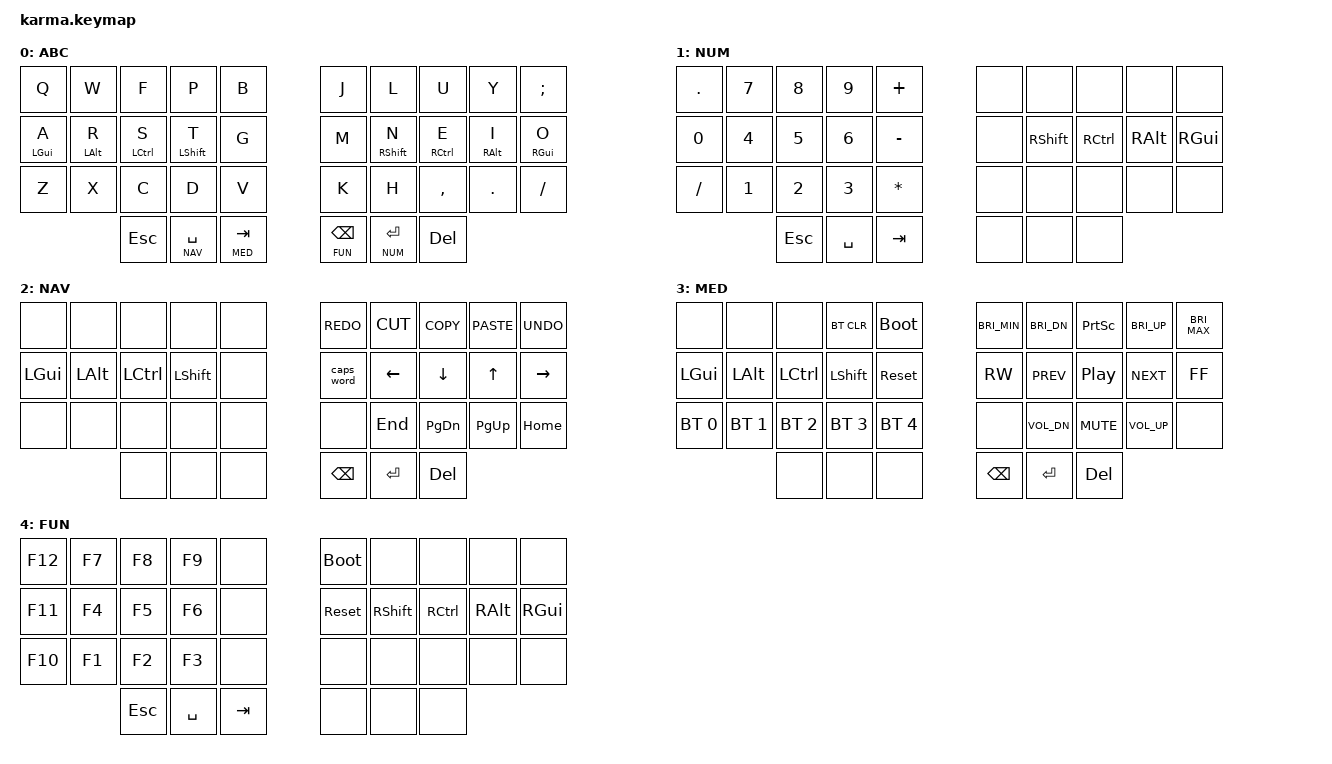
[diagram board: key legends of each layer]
#include <behaviors.dtsi>
#include <dt-bindings/zmk/keys.h>
#include <dt-bindings/zmk/bt.h>
#include <dt-bindings/zmk/ext_power.h>
#include <dt-bindings/zmk/outputs.h>

#define ABC 0
#define NUM 1
#define NAV 2
#define MED 3
#define FUN 4

#define COMBO_TIMEOUT_FAST 25
#define COMBO_TIMEOUT_SLOW 50

&mt {
  flavor = "tap-preferred";
  quick-tap-ms = <150>;
  tapping-term-ms = <150>;
};

&caps_word {
  continue-list = <UNDERSCORE MINUS BACKSPACE>;
};

/ {
    behaviors {
        ht_combo: ht_combo {
            compatible = "zmk,behavior-hold-tap";
            #binding-cells = <2>;
            flavor = "tap-preferred";
            tapping-term-ms = <150>;
            quick-tap-ms = <150>;
            bindings = <&kp>, <&kp>;
        };
        sym_brc: sym_brc_morph {
            compatible = "zmk,behavior-mod-morph";
            #binding-cells = <0>;
            bindings = <&kp LBRC>, <&kp RBRC>;
            mods = <(MOD_LSFT|MOD_RSFT)>;
        };
        sym_par: sym_par_morph {
            compatible = "zmk,behavior-mod-morph";
            #binding-cells = <0>;
            bindings = <&kp LPAR>, <&kp RPAR>;
            mods = <(MOD_LSFT|MOD_RSFT)>;
        };
        sym_bkt: sym_bkt_morph {
            compatible = "zmk,behavior-mod-morph";
            #binding-cells = <0>;
            bindings = <&kp LBKT>, <&kp RBKT>;
            mods = <(MOD_LSFT|MOD_RSFT)>;
        };
    };

    combos {
            compatible = "zmk,combos";
            // ┏━━━━━━━━━━━┳━━━━━━━━━━━┳━━━━━━━━━━━┳━━━━━━━━━━━┳━━━━━━━━━━━┓     ┏━━━━━━━━━━━┳━━━━━━━━━━━┳━━━━━━━━━━━┳━━━━━━━━━━━┳━━━━━━━━━━━┓
            // ┃           !           @           #           $           ┃     ┃           %           ^           &           *           ┃
            // ┣━━━━━━━━━━━╋━━━━━━━━━━━╋━━━━━━━━━━━╋━━━━━━━━━━━╋━━━━━━━━━━━┫     ┣━━━━━━━━━━━╋━━━━━━━━━━━╋━━━━━━━━━━━╋━━━━━━━━━━━╋━━━━━━━━━━━┫
            // ┃           `           -           '           =           ┃     ┃           +           "           _           ~           ┃
            // ┣━━━━━━━━━━━╋━━━━━━━━━━━╋━━━━━━━━━━━╋━━━━━━━━━━━╋━━━━━━━━━━━┫     ┣━━━━━━━━━━━╋━━━━━━━━━━━╋━━━━━━━━━━━╋━━━━━━━━━━━╋━━━━━━━━━━━┫
            // ┃           [           {           (           \           ┃     ┃           |           )           }           ]           ┃
            // ┗━━━━━━━━━━━┻━━━━━━━━━━━╋━━━━━━━━━━━╋━━━━━━━━━━━╋━━━━━━━━━━━┫     ┣━━━━━━━━━━━╋━━━━━━━━━━━╋━━━━━━━━━━━╋━━━━━━━━━━━┻━━━━━━━━━━━┛
            //                         ┃           ┃           ┃           ┃     ┃           ┃           ┃           ┃
            //                         ┗━━━━━━━━━━━┻━━━━━━━━━━━┻━━━━━━━━━━━┛     ┗━━━━━━━━━━━┻━━━━━━━━━━━┻━━━━━━━━━━━┛

            // --- Top Row ---
            combo_excl {
                timeout-ms = <COMBO_TIMEOUT_SLOW>;
                key-positions = <0 1>; // Q + W
                bindings = <&kp EXCL>;
                layers = <ABC>;
            };
            combo_at {
                timeout-ms = <COMBO_TIMEOUT_SLOW>;
                key-positions = <1 2>; // W + F
                bindings = <&kp AT>;
                layers = <ABC>;
            };
            combo_hash {
                timeout-ms = <COMBO_TIMEOUT_SLOW>;
                key-positions = <2 3>; // F + P
                bindings = <&kp HASH>;
                layers = <ABC>;
            };
            combo_dllr {
                timeout-ms = <COMBO_TIMEOUT_SLOW>;
                key-positions = <3 4>; // P + B
                bindings = <&kp DLLR>;
                layers = <ABC>;
            };
            combo_prcnt {
                timeout-ms = <COMBO_TIMEOUT_SLOW>;
                key-positions = <5 6>; // J + L
                bindings = <&kp PRCNT>;
                layers = <ABC>;
            };
            combo_caret {
                timeout-ms = <COMBO_TIMEOUT_SLOW>;
                key-positions = <6 7>; // L + U
                bindings = <&kp CARET>;
                layers = <ABC>;
            };
            combo_amps {
                timeout-ms = <COMBO_TIMEOUT_SLOW>;
                key-positions = <7 8>; // U + Y
                bindings = <&kp AMPS>;
                layers = <ABC>;
            };
            combo_star {
                timeout-ms = <COMBO_TIMEOUT_SLOW>;
                key-positions = <8 9>; // Y + ;
                bindings = <&kp STAR>;
                layers = <ABC>;
            };

            // --- Home Row ---
            combo_grave {
                timeout-ms = <COMBO_TIMEOUT_SLOW>;
                key-positions = <10 11>; // A + R
                bindings = <&ht_combo LG(LALT) GRAVE>;
                layers = <ABC>;
            };
            combo_minus {
                timeout-ms = <COMBO_TIMEOUT_FAST>;
                key-positions = <11 12>; // R + S
                bindings = <&ht_combo LA(LCTRL) MINUS>;
                layers = <ABC>;
            };
            combo_sqt {
                timeout-ms = <COMBO_TIMEOUT_FAST>;
                key-positions = <12 13>; // S + T
                bindings = <&ht_combo LC(LSHFT) SQT>;
                layers = <ABC>;
            };
            combo_equal {
                timeout-ms = <COMBO_TIMEOUT_SLOW>;
                key-positions = <13 14>; // T + G
                bindings = <&kp EQUAL>;
                layers = <ABC>;
            };
            combo_plus {
                timeout-ms = <COMBO_TIMEOUT_SLOW>;
                key-positions = <15 16>; // M + N
                bindings = <&kp PLUS>;
                layers = <ABC>;
            };
            combo_dqt {
                timeout-ms = <COMBO_TIMEOUT_FAST>;
                key-positions = <16 17>; // N + E
                bindings = <&ht_combo RC(RSHFT) DQT>;
                layers = <ABC>;
            };
            combo_under {
                timeout-ms = <COMBO_TIMEOUT_FAST>;
                key-positions = <17 18>; // E + I
                bindings = <&ht_combo RC(RALT) UNDER>;
                layers = <ABC>;
            };
            combo_tilde {
                timeout-ms = <COMBO_TIMEOUT_SLOW>;
                key-positions = <18 19>; // I + O
                bindings = <&ht_combo RG(RALT) TILDE>;
                layers = <ABC>;
            };

            // --- Bottom Row ---
            combo_lbracket {
                timeout-ms = <COMBO_TIMEOUT_SLOW>;
                key-positions = <20 21>; // Z + X
                bindings = <&kp LBKT>;
                layers = <ABC>;
            };
            combo_lbrace {
                timeout-ms = <COMBO_TIMEOUT_SLOW>;
                key-positions = <21 22>; // X + C
                bindings = <&kp LBRC>;
                layers = <ABC>;
            };
            combo_lparen {
                timeout-ms = <COMBO_TIMEOUT_FAST>;
                key-positions = <22 23>; // C + D
                bindings = <&kp LPAR>;
                layers = <ABC>;
            };
            combo_bslh {
                timeout-ms = <COMBO_TIMEOUT_SLOW>;
                key-positions = <23 24>; // D + V
                bindings = <&kp BSLH>;
                layers = <ABC>;
            };
            combo_pipe {
                timeout-ms = <COMBO_TIMEOUT_SLOW>;
                key-positions = <25 26>; // K + H
                bindings = <&kp PIPE>;
                layers = <ABC>;
            };
            combo_rparen {
                timeout-ms = <COMBO_TIMEOUT_SLOW>;
                key-positions = <26 27>; // H + ,
                bindings = <&kp RPAR>;
                layers = <ABC>;
            };
            combo_rbrace {
                timeout-ms = <COMBO_TIMEOUT_SLOW>;
                key-positions = <27 28>; // , + .
                bindings = <&kp RBRC>;
                layers = <ABC>;
            };
            combo_rbracket {
                timeout-ms = <COMBO_TIMEOUT_SLOW>;
                key-positions = <28 29>; // . + /
                bindings = <&kp RBKT>;
                layers = <ABC>;
            };
     };

        keymap {
                compatible = "zmk,keymap";
                abc_layer {
                    label= "ABC";
                    // ┏━━━━━━━━━━━┳━━━━━━━━━━━┳━━━━━━━━━━━┳━━━━━━━━━━━┳━━━━━━━━━━━┓     ┏━━━━━━━━━━━┳━━━━━━━━━━━┳━━━━━━━━━━━┳━━━━━━━━━━━┳━━━━━━━━━━━┓
                    // ┃     Q     ┃     W     ┃     F     ┃     P     ┃     B     ┃     ┃     J     ┃     L     ┃     U     ┃     Y     ┃     ;     ┃
                    // ┣━━━━━━━━━━━╋━━━━━━━━━━━╋━━━━━━━━━━━╋━━━━━━━━━━━╋━━━━━━━━━━━┫     ┣━━━━━━━━━━━╋━━━━━━━━━━━╋━━━━━━━━━━━╋━━━━━━━━━━━╋━━━━━━━━━━━┫
                    // ┃     A     ┃     R     ┃     S     ┃     T     ┃     G     ┃     ┃     M     ┃     N     ┃     E     ┃     I     ┃     O     ┃
                    // ┣━━━━━━━━━━━╋━━━━━━━━━━━╋━━━━━━━━━━━╋━━━━━━━━━━━╋━━━━━━━━━━━┫     ┣━━━━━━━━━━━╋━━━━━━━━━━━╋━━━━━━━━━━━╋━━━━━━━━━━━╋━━━━━━━━━━━┃
                    // ┃     Z     ┃     X     ┃     C     ┃     D     ┃     V     ┃     ┃     K     ┃     H     ┃     ,     ┃     .     ┃     /     ┃
                    // ┗━━━━━━━━━━━┻━━━━━━━━━━━╋━━━━━━━━━━━╋━━━━━━━━━━━╋━━━━━━━━━━━┫     ┣━━━━━━━━━━━╋━━━━━━━━━━━╋━━━━━━━━━━━╋━━━━━━━━━━━┻━━━━━━━━━━━┛
                    //                         ┃    ESC    ┃    SPC    ┃    TAB    ┃     ┃   BKSPC   ┃   ENTER   ┃    DEL    ┃
                    //                         ┗━━━━━━━━━━━┻━━━━━━━━━━━┻━━━━━━━━━━━┛     ┗━━━━━━━━━━━┻━━━━━━━━━━━┻━━━━━━━━━━━┛
                    bindings = <
                        &kp Q       &kp W       &kp F       &kp P         &kp B           &kp J        &kp L       &kp U       &kp Y       &kp SEMI
                        &mt LGUI A  &mt LALT R  &mt LCTRL S &mt LSHFT T   &kp G           &kp M        &mt RSHFT N &mt RCTRL E &mt RALT I  &mt RGUI O
                        &kp Z       &kp X       &kp C       &kp D         &kp V           &kp K        &kp H       &kp COMMA   &kp DOT     &kp FSLH
                                                &kp ESC     &lt NAV SPACE &lt MED TAB     &lt FUN BSPC &lt NUM RET &kp DEL
                    >;
                };

                num_layer {
                    label= "NUM";
                    // ┏━━━━━━━━━━━┳━━━━━━━━━━━┳━━━━━━━━━━━┳━━━━━━━━━━━┳━━━━━━━━━━━┓     ┏━━━━━━━━━━━┳━━━━━━━━━━━┳━━━━━━━━━━━┳━━━━━━━━━━━┳━━━━━━━━━━━┓
                    // ┃     .     ┃     7     ┃     8     ┃     9     ┃     +     ┃     ┃           ┃           ┃           ┃           ┃           ┃
                    // ┣━━━━━━━━━━━╋━━━━━━━━━━━╋━━━━━━━━━━━╋━━━━━━━━━━━╋━━━━━━━━━━━┫     ┣━━━━━━━━━━━╋━━━━━━━━━━━╋━━━━━━━━━━━╋━━━━━━━━━━━╋━━━━━━━━━━━┫
                    // ┃     0     ┃     4     ┃     5     ┃     6     ┃     -     ┃     ┃           ┃   RSHFT   ┃   RCTRL   ┃   RALT    ┃   RGUI    ┃
                    // ┣━━━━━━━━━━━╋━━━━━━━━━━━╋━━━━━━━━━━━╋━━━━━━━━━━━╋━━━━━━━━━━━┃     ┣━━━━━━━━━━━╋━━━━━━━━━━━╋━━━━━━━━━━━╋━━━━━━━━━━━╋━━━━━━━━━━━┃
                    // ┃     /     ┃     1     ┃     2     ┃     3     ┃     *     ┃     ┃           ┃           ┃           ┃           ┃           ┃
                    // ┗━━━━━━━━━━━┻━━━━━━━━━━━╋━━━━━━━━━━━╋━━━━━━━━━━━╋━━━━━━━━━━━┃     ┣━━━━━━━━━━━╋━━━━━━━━━━━╋━━━━━━━━━━━╋━━━━━━━━━━━┻━━━━━━━━━━━┛
                    //                         ┃    ESC    ┃    SPC    ┃    TAB    ┃     ┃           ┃           ┃           ┃
                    //                         ┗━━━━━━━━━━━┻━━━━━━━━━━━┻━━━━━━━━━━━┛     ┗━━━━━━━━━━━┻━━━━━━━━━━━┻━━━━━━━━━━━┛
                    bindings = <
                        &kp DOT     &kp N7      &kp N8      &kp N9      &kp PLUS          &none        &none        &none        &none        &none
                        &kp N0      &kp N4      &kp N5      &kp N6      &kp MINUS         &none        &kp RSHFT    &kp RCTRL    &kp RALT     &kp RGUI
                        &kp FSLH    &kp N1      &kp N2      &kp N3      &kp STAR          &none        &none        &none        &none        &none
                                                &kp ESC     &kp SPACE   &kp TAB           &none        &none        &none
                    >;
                };

                nav_layer {
                    label= "NAV";
                    // ┏━━━━━━━━━━━┳━━━━━━━━━━━┳━━━━━━━━━━━┳━━━━━━━━━━━┳━━━━━━━━━━━┓     ┏━━━━━━━━━━━┳━━━━━━━━━━━┳━━━━━━━━━━━┳━━━━━━━━━━━┳━━━━━━━━━━━┓
                    // ┃           ┃           ┃           ┃           ┃           ┃     ┃    REDO   ┃    CUT    ┃    COPY   ┃   PASTE   ┃    UNDO   ┃
                    // ┣━━━━━━━━━━━╋━━━━━━━━━━━╋━━━━━━━━━━━╋━━━━━━━━━━━╋━━━━━━━━━━━┫     ┣━━━━━━━━━━━╋━━━━━━━━━━━╋━━━━━━━━━━━╋━━━━━━━━━━━╋━━━━━━━━━━━┫
                    // ┃   LSUPR   ┃   LMETA   ┃   LCTRL   ┃   LSHFT   ┃           ┃     ┃   CAPSW   ┃    LEFT   ┃    DOWN   ┃    UP     ┃   RIGHT   ┃
                    // ┣━━━━━━━━━━━╋━━━━━━━━━━━╋━━━━━━━━━━━╋━━━━━━━━━━━╋━━━━━━━━━━━┃     ┣━━━━━━━━━━━╋━━━━━━━━━━━╋━━━━━━━━━━━╋━━━━━━━━━━━╋━━━━━━━━━━━┃
                    // ┃           ┃           ┃           ┃           ┃           ┃     ┃           ┃    END    ┃   PG_DN   ┃   PG_UP   ┃   HOME    ┃
                    // ┗━━━━━━━━━━━┻━━━━━━━━━━━╋━━━━━━━━━━━╋━━━━━━━━━━━╋━━━━━━━━━━━┫     ┣━━━━━━━━━━━╋━━━━━━━━━━━╋━━━━━━━━━━━╋━━━━━━━━━━━┻━━━━━━━━━━━┛
                    //                         ┃           ┃           ┃           ┃     ┃   BKSPC   ┃   ENTER   ┃    DEL    ┃
                    //                         ┗━━━━━━━━━━━┻━━━━━━━━━━━┻━━━━━━━━━━━┛     ┗━━━━━━━━━━━┻━━━━━━━━━━━┻━━━━━━━━━━━┛
                    bindings = <
                        &none       &none       &none       &none       &none             &kp K_REDO   &kp K_CUT   &kp K_COPY  &kp K_PASTE &kp K_UNDO
                        &kp LGUI    &kp LALT    &kp LCTRL   &kp LSHFT   &none             &caps_word   &kp LEFT    &kp DOWN    &kp UP      &kp RIGHT
                        &none       &none       &none       &none       &none             &none        &kp END     &kp PG_DN   &kp PG_UP   &kp HOME
                                                &none       &none       &none             &kp BSPC     &kp RET     &kp DEL
                    >;
                };

                med_layer {
                    label= "MED";
                    // ┏━━━━━━━━━━━┳━━━━━━━━━━━┳━━━━━━━━━━━┳━━━━━━━━━━━┳━━━━━━━━━━━┓     ┏━━━━━━━━━━━┳━━━━━━━━━━━┳━━━━━━━━━━━┳━━━━━━━━━━━┳━━━━━━━━━━━┓
                    // ┃           ┃           ┃           ┃  BT CLR   ┃  BOOTLDR  ┃     ┃  BR MIN   ┃   BR DN   ┃   PSCRN   ┃   BR UP   ┃  BR MAX   ┃
                    // ┣━━━━━━━━━━━╋━━━━━━━━━━━╋━━━━━━━━━━━╋━━━━━━━━━━━╋━━━━━━━━━━━┫     ┣━━━━━━━━━━━╋━━━━━━━━━━━╋━━━━━━━━━━━╋━━━━━━━━━━━╋━━━━━━━━━━━┫
                    // ┃   LSUPR   ┃   LMETA   ┃   LCTRL   ┃   LSHFT   ┃  SYS RST  ┃     ┃    RWD    ┃    PRV    ┃    P/P    ┃    NXT    ┃    FFD    ┃
                    // ┣━━━━━━━━━━━╋━━━━━━━━━━━╋━━━━━━━━━━━╋━━━━━━━━━━━╋━━━━━━━━━━━┃     ┣━━━━━━━━━━━╋━━━━━━━━━━━╋━━━━━━━━━━━╋━━━━━━━━━━━╋━━━━━━━━━━━┃
                    // ┃    BT0    ┃    BT1    ┃    BT2    ┃    BT3    ┃    BT4    ┃     ┃           ┃   VL DN   ┃    MUT    ┃   VL UP   ┃           ┃
                    // ┗━━━━━━━━━━━┻━━━━━━━━━━━╋━━━━━━━━━━━╋━━━━━━━━━━━╋━━━━━━━━━━━┫     ┣━━━━━━━━━━━╋━━━━━━━━━━━╋━━━━━━━━━━━╋━━━━━━━━━━━┻━━━━━━━━━━━┛
                    //                         ┃           ┃           ┃           ┃     ┃   BKSPC   ┃   ENTER   ┃    DEL    ┃
                    //                         ┗━━━━━━━━━━━┻━━━━━━━━━━━┻━━━━━━━━━━━┛     ┗━━━━━━━━━━━┻━━━━━━━━━━━┻━━━━━━━━━━━┛
                    bindings = <
                        &none        &none        &none        &bt BT_CLR   &bootloader   &kp C_BRI_MIN &kp C_BRI_DN &kp PSCRN  &kp C_BRI_UP &kp C_BRI_MAX
                        &kp LGUI     &kp LALT     &kp LCTRL    &kp LSHFT    &sys_reset    &kp C_RW    &kp C_PREV   &kp C_PP   &kp C_NEXT   &kp C_FF
                        &bt BT_SEL 0 &bt BT_SEL 1 &bt BT_SEL 2 &bt BT_SEL 3 &bt BT_SEL 4  &none       &kp C_VOL_DN &kp C_MUTE &kp C_VOL_UP &none
                                                  &none        &none        &none         &kp BSPC    &kp RET      &kp DEL
                    >;
                };

                fun_layer {
                    label= "FUN";
                    // ┏━━━━━━━━━━━┳━━━━━━━━━━━┳━━━━━━━━━━━┳━━━━━━━━━━━┳━━━━━━━━━━━┓     ┏━━━━━━━━━━━┳━━━━━━━━━━━┳━━━━━━━━━━━┳━━━━━━━━━━━┳━━━━━━━━━━━┓
                    // ┃    F12    ┃    F07    ┃    F08    ┃    F09    ┃           ┃     ┃  BOOTLDR  ┃           ┃           ┃           ┃           ┃
                    // ┣━━━━━━━━━━━╋━━━━━━━━━━━╋━━━━━━━━━━━╋━━━━━━━━━━━╋━━━━━━━━━━━┫     ┣━━━━━━━━━━━╋━━━━━━━━━━━╋━━━━━━━━━━━╋━━━━━━━━━━━╋━━━━━━━━━━━┫
                    // ┃    F11    ┃    F04    ┃    F05    ┃    F06    ┃           ┃     ┃  SYS RST  ┃   RSHFT   ┃   RCTRL   ┃   RALT    ┃   RGUI    ┃
                    // ┣━━━━━━━━━━━╋━━━━━━━━━━━╋━━━━━━━━━━━╋━━━━━━━━━━━╋━━━━━━━━━━━┃     ┣━━━━━━━━━━━╋━━━━━━━━━━━╋━━━━━━━━━━━╋━━━━━━━━━━━╋━━━━━━━━━━━┃
                    // ┃    F10    ┃    F01    ┃    F02    ┃    F03    ┃           ┃     ┃           ┃           ┃           ┃           ┃           ┃
                    // ┗━━━━━━━━━━━┻━━━━━━━━━━━╋━━━━━━━━━━━╋━━━━━━━━━━━╋━━━━━━━━━━━┫     ┣━━━━━━━━━━━╋━━━━━━━━━━━╋━━━━━━━━━━━╋━━━━━━━━━━━┻━━━━━━━━━━━┛
                    //                         ┃    ESC    ┃    SPC    ┃    TAB    ┃     ┃           ┃           ┃           ┃
                    //                         ┗━━━━━━━━━━━┻━━━━━━━━━━━┻━━━━━━━━━━━┛     ┗━━━━━━━━━━━┻━━━━━━━━━━━┻━━━━━━━━━━━┛
                    bindings = <
                        &kp F12       &kp F7       &kp F8     &kp F9       &none          &bootloader  &none        &none        &none        &none
                        &kp F11       &kp F4       &kp F5     &kp F6       &none          &sys_reset   &kp RSHFT    &kp RCTRL    &kp RALT     &kp RGUI
                        &kp F10       &kp F1       &kp F2     &kp F3       &none          &none        &none        &none        &none        &none
                                                   &kp ESC    &kp SPACE    &kp TAB        &none        &none        &none
                    >;
                };
        };
};
